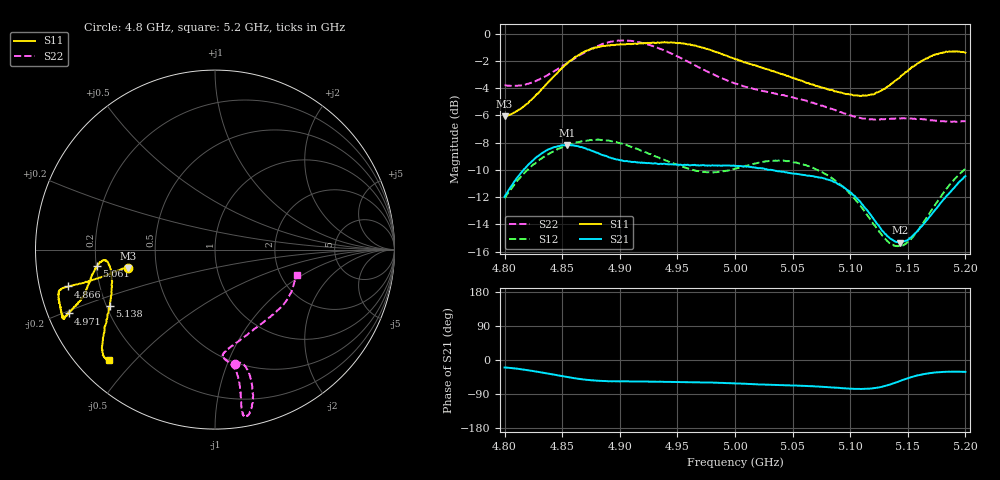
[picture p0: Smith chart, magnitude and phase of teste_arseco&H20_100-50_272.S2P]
! Network Analyzer HP8722D
! Hewlett-Packard
! Data name: Linha & Wilkinson
! Saver's name: Rodrigo Anjos
! Comments: Teste da utilização de aquisição
! continua pelo VNA HP8722D
! Time and date: 6/5/2025 14:50
!  Frequency  S11  S21  S12  S22
# HZ  S  MA R 50
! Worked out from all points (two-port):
!   401 points, 4.8 GHz to 5.2 GHz, reference 50 ohm
!   highest |S21| = -8.17 dB at 4.854 GHz (marker M1); lowest = -15.3 dB at 5.143 GHz (marker M2)
!   |S21| within 3 dB of the highest: 4.806 GHz to 5.092 GHz (286.4 MHz wide, 5.79 % of centre); 5.191652 GHz to end of sweep
!   lowest |S11| = -6.1 dB at 4.8 GHz (marker M3), VSWR 2.98, Z = 17 - j4.58 ohm
!   |S11| at or under -10 dB: nowhere
!   |S22| runs from -6.5 to -0.5 dB; largest |S21 - S12| = 0.62
!   S11 on the Smith chart (normalised r, x): 4.8 GHz: 0.34, -0.09; 4.866 GHz: 0.09, -0.12; 4.971 GHz: 0.06, -0.21; 5.061 GHz: 0.20, -0.07; 5.138 GHz: 0.21, -0.24; 5.2 GHz: 0.09, -0.42
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4.8e9  0.4969 -168.2  0.2522 -19.7  0.2489 -140.9  0.6474 -80.3
4.827e9  0.5939 -167.1  0.3505 -30.0  0.3357 -144.7  0.6703 -75.4
4.854e9  0.7762 -165.9  0.3905 -45.0  0.3884 -149.9  0.7792 -74.7
4.866e9  0.8428 -165.9  0.3836 -50.4  0.4018 -152.0  0.8372 -75.3
4.867e9  0.85 -165.9  0.3839 -50.8  0.4029 -152.1  0.8433 -75.4
4.88e9  0.8892 -165.5  0.366 -54.5  0.4084 -154.2  0.8987 -76.7
4.899e9  0.9113 -162.9  0.3443 -56.4  0.3977 -156.7  0.9444 -79.1
4.934e9  0.9269 -156.5  0.3325 -57.4  0.351 -155.7  0.8834 -80.5
4.971e9  0.8897 -156.5  0.3288 -59.2  0.3116 -146.5  0.7449 -79.6
5e9  0.8087 -159.0  0.3272 -61.7  0.3197 -137.3  0.6564 -81.3
5.038e9  0.7166 -166.2  0.3127 -66.0  0.3423 -134.5  0.6006 -85.8
5.061e9  0.6634 -171.9  0.3028 -68.4  0.3298 -136.2  0.5696 -84.1
5.067e9  0.6517 -173.1  0.3004 -69.0  0.3229 -136.7  0.5584 -82.6
5.082e9  0.6224 -174.7  0.2905 -71.8  0.2992 -138.3  0.5323 -77.2
5.101e9  0.5981 -171.9  0.2604 -75.8  0.2554 -138.8  0.5009 -66.6
5.115e9  0.5944 -166.1  0.2242 -75.8  0.2152 -135.9  0.4869 -56.6
5.134e9  0.6451 -154.3  0.1781 -65.2  0.1707 -120.7  0.4866 -43.3
5.138e9  0.6662 -151.9  0.1736 -61.1  0.1669 -115.6  0.4879 -40.8
5.143e9  0.6909 -149.3  0.1712 -55.8  0.1661 -109.0  0.489 -38.0
5.154e9  0.7568 -144.5  0.1809 -44.4  0.1789 -95.0  0.488 -32.2
5.172e9  0.8345 -139.1  0.2211 -33.5  0.2299 -81.0  0.4806 -24.5
5.2e9  0.8523 -133.7  0.3002 -31.4  0.3195 -76.9  0.4778 -17.5
